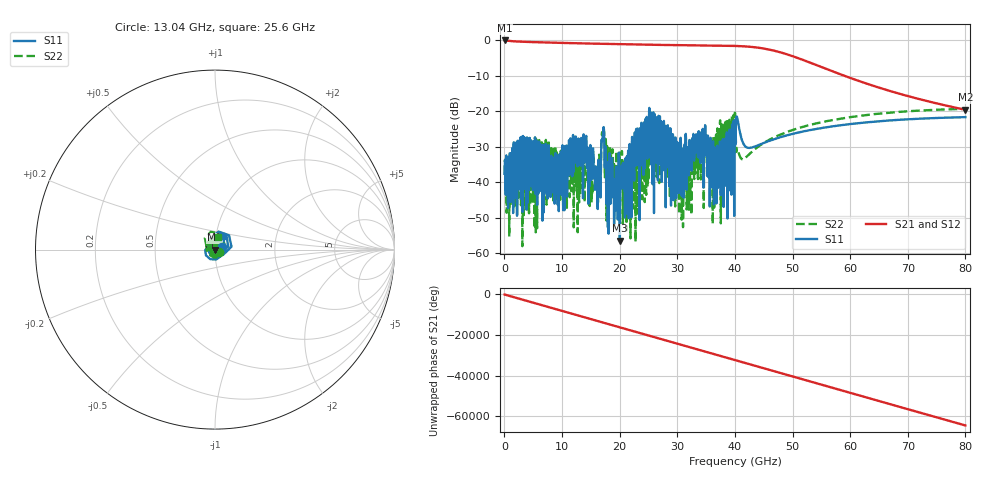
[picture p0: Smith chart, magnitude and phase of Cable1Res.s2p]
! File created by SignalIntegrity v1.1.9: Signal and Power Integrity Tools
! https://github.com/TeledyneLeCroy/SignalIntegrity
# MHz MA S R 50.0
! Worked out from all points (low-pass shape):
!   2000 points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, 40 MHz to 80 GHz, reference 50 ohm
!   highest |S21| = -0.05 dB at 40 MHz (marker M1); lowest = -19.6 dB at 80 GHz (marker M2)
!   |S21| within 3 dB of the highest: start of sweep to 47.09 GHz
!   lowest |S11| = -56.5 dB at 20.04 GHz (marker M3), VSWR 1.00, Z = 49.9 - j0.0373 ohm
!   |S11| at or under -10 dB: start of sweep to end of sweep
!   |S22| runs from -58.1 to -19.3 dB; largest |S21 - S12| = 0
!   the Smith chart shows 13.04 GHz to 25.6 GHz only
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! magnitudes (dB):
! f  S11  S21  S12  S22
! 40 MHz  -37.7  0.0  0.0  -37.9
! 4.28 GHz  -42.2  -0.5  -0.5  -48.8
! 9.08 GHz  -33.8  -0.7  -0.7  -31.6
! 13.4 GHz  -30.9  -0.9  -0.9  -35.5
! 16.32 GHz  -33.7  -1.0  -1.0  -36.7
! 17.24 GHz  -24.5  -1.0  -1.0  -25.9
! 18.08 GHz  -54.5  -1.0  -1.0  -36.2
! 20.04 GHz  -56.5  -1.1  -1.1  -36.1
! 21.52 GHz  -31.9  -1.1  -1.1  -34.8
! 25.04 GHz  -32.8  -1.3  -1.3  -39.4
! 26.72 GHz  -22.0  -1.3  -1.3  -24.9
! 30.8 GHz  -30.5  -1.4  -1.4  -41.5
! 32.04 GHz  -35.5  -1.4  -1.4  -47.8
! 34.52 GHz  -41.6  -1.5  -1.5  -33.8
! 36.72 GHz  -32.0  -1.5  -1.5  -26.7
! 38.24 GHz  -36.7  -1.5  -1.5  -29.9
! 40.04 GHz  -24.5  -1.6  -1.6  -20.6
! 40.56 GHz  -23.2  -1.6  -1.6  -31.2
! 41.44 GHz  -29.0  -1.7  -1.7  -33.5
! 53.36 GHz  -25.2  -6.5  -6.5  -23.7
! 66.68 GHz  -22.6  -14.2  -14.2  -20.4
! 80 GHz  -21.7  -19.6  -19.6  -19.3
